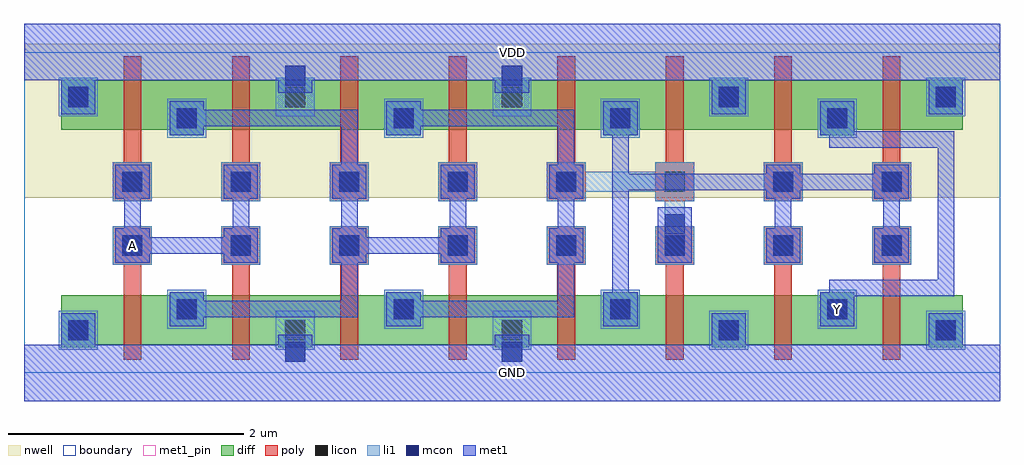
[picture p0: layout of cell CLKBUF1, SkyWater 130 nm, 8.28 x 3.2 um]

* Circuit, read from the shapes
.subckt CLKBUF1 A GND VDD Y
XM1 n1 A GND VSUBS sky130_fd_pr__nfet_01v8 w=0.42 l=0.15 m=2
XM2 n2 n1 GND VSUBS sky130_fd_pr__nfet_01v8 w=0.42 l=0.15 m=2
XM3 n3 n2 GND VSUBS sky130_fd_pr__nfet_01v8 w=0.42 l=0.15 m=2
XM4 Y n3 GND VSUBS sky130_fd_pr__nfet_01v8 w=0.42 l=0.15 m=2
XM5 n1 A VDD n4 sky130_fd_pr__pfet_01v8 w=0.42 l=0.15 m=2
XM6 n2 n1 VDD n4 sky130_fd_pr__pfet_01v8 w=0.42 l=0.15 m=2
XM7 n3 n2 VDD n4 sky130_fd_pr__pfet_01v8 w=0.42 l=0.15 m=2
XM8 Y n3 VDD n4 sky130_fd_pr__pfet_01v8 w=0.42 l=0.15 m=2
.ends

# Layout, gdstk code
import gdstk
lib = gdstk.Library(unit=1e-6, precision=1e-09)
def R(c, l, rs):  # rectangles x0, y0, x1, y1
    for r in rs: c.add(gdstk.rectangle(r[:2], r[2:], *l))
def A(c, l, x, y, w, h, nx, ny, dx, dy):  # array of equal rectangles
    R(c, l, [(x+i*dx, y+j*dy, x+i*dx+w, y+j*dy+h) for i in range(nx) for j in range(ny)])
def P(c, l, *ps):  # polygons
    for p in ps: c.add(gdstk.Polygon(p, *l))
nwell = (64, 20)
diff = (65, 20)
poly = (66, 20)
licon = (66, 44)
li1 = (67, 20)
mcon = (67, 44)
met1_pin = (68, 16)
met1 = (68, 20)
boundary = (235, 4)

clkbuf1 = lib.new_cell('CLKBUF1')
P(clkbuf1, nwell, [(0,1.485),(0,2.72),(0.005,2.72),(0.005,2.79),(8.275,2.79),(8.275,2.72),(8.28,2.72),(8.28,1.485)])
P(clkbuf1, diff, [(0.315,0.215),(0.315,0.66),(1.235,0.66),(1.235,0.685),(1.525,0.685),(1.525,0.66),(3.075,0.66),(3.075,0.685),(3.365,0.685),(3.365,0.66),(4.915,0.66),(4.915,0.685),(5.205,0.685),(5.205,0.66),(6.755,0.66),(6.755,0.685),(7.045,0.685),(7.045,0.66),(7.965,0.66),(7.965,0.215),(7.675,0.215),(7.675,0.24),(6.125,0.24),(6.125,0.215),(5.835,0.215),(5.835,0.24),(4.285,0.24),(4.285,0.215),(3.995,0.215),(3.995,0.24),(2.445,0.24),(2.445,0.215),(2.155,0.215),(2.155,0.24),(0.605,0.24),(0.605,0.215)],
  [(1.235,2.015),(1.235,2.06),(0.315,2.06),(0.315,2.485),(0.605,2.485),(0.605,2.48),(2.155,2.48),(2.155,2.485),(2.445,2.485),(2.445,2.48),(3.995,2.48),(3.995,2.485),(4.285,2.485),(4.285,2.48),(5.835,2.48),(5.835,2.485),(6.125,2.485),(6.125,2.48),(7.675,2.48),(7.675,2.485),(7.965,2.485),(7.965,2.06),(7.045,2.06),(7.045,2.015),(6.755,2.015),(6.755,2.06),(5.205,2.06),(5.205,2.015),(4.915,2.015),(4.915,2.06),(3.365,2.06),(3.365,2.015),(3.075,2.015),(3.075,2.06),(1.525,2.06),(1.525,2.015)])
P(clkbuf1, poly, [(0.845,0.11),(0.845,0.915),(0.755,0.915),(0.755,1.245),(1.085,1.245),(1.085,0.915),(0.995,0.915),(0.995,0.11)],
  [(1.765,0.11),(1.765,0.915),(1.675,0.915),(1.675,1.245),(2.005,1.245),(2.005,0.915),(1.915,0.915),(1.915,0.11)],
  [(2.685,0.11),(2.685,0.915),(2.595,0.915),(2.595,1.245),(2.925,1.245),(2.925,0.915),(2.835,0.915),(2.835,0.11)],
  [(3.605,0.11),(3.605,0.915),(3.515,0.915),(3.515,1.245),(3.845,1.245),(3.845,0.915),(3.755,0.915),(3.755,0.11)],
  [(4.525,0.11),(4.525,0.915),(4.435,0.915),(4.435,1.245),(4.765,1.245),(4.765,0.915),(4.675,0.915),(4.675,0.11)],
  [(5.445,0.11),(5.445,0.915),(5.355,0.915),(5.355,1.245),(5.685,1.245),(5.685,0.915),(5.595,0.915),(5.595,0.11)],
  [(6.365,0.11),(6.365,0.915),(6.275,0.915),(6.275,1.245),(6.605,1.245),(6.605,0.915),(6.515,0.915),(6.515,0.11)],
  [(7.285,0.11),(7.285,0.915),(7.195,0.915),(7.195,1.245),(7.525,1.245),(7.525,0.915),(7.435,0.915),(7.435,0.11)],
  [(0.755,1.455),(0.755,1.785),(0.845,1.785),(0.845,2.685),(0.995,2.685),(0.995,1.785),(1.085,1.785),(1.085,1.455)],
  [(1.675,1.455),(1.675,1.785),(1.765,1.785),(1.765,2.685),(1.915,2.685),(1.915,1.785),(2.005,1.785),(2.005,1.455)],
  [(2.595,1.455),(2.595,1.785),(2.685,1.785),(2.685,2.685),(2.835,2.685),(2.835,1.785),(2.925,1.785),(2.925,1.455)],
  [(3.515,1.455),(3.515,1.785),(3.605,1.785),(3.605,2.685),(3.755,2.685),(3.755,1.785),(3.845,1.785),(3.845,1.455)],
  [(4.435,1.455),(4.435,1.785),(4.525,1.785),(4.525,2.685),(4.675,2.685),(4.675,1.785),(4.765,1.785),(4.765,1.455)],
  [(5.355,1.455),(5.355,1.785),(5.445,1.785),(5.445,2.685),(5.595,2.685),(5.595,1.785),(5.685,1.785),(5.685,1.455)],
  [(6.275,1.455),(6.275,1.785),(6.365,1.785),(6.365,2.685),(6.515,2.685),(6.515,1.785),(6.605,1.785),(6.605,1.455)],
  [(7.195,1.455),(7.195,1.785),(7.285,1.785),(7.285,2.685),(7.435,2.685),(7.435,1.785),(7.525,1.785),(7.525,1.455)])
A(clkbuf1, licon, 0.375, 0.275, 0.17, 0.17, 5, 2, 1.84, 1.98)
A(clkbuf1, licon, 1.295, 0.455, 0.17, 0.17, 4, 2, 1.84, 1.62)
A(clkbuf1, licon, 0.835, 0.995, 0.17, 0.17, 8, 2, 0.92, 0.54)
A(clkbuf1, li1, 1.215, 0.375, 0.33, 0.33, 4, 2, 1.84, 1.62)
A(clkbuf1, li1, 0.755, 0.915, 0.33, 0.33, 5, 1, 0.92, 0)
A(clkbuf1, li1, 0.755, 1.455, 0.33, 0.33, 4, 1, 0.92, 0)
R(clkbuf1, li1, [(0.295,0.195,0.625,0.525), (5.815,0.195,6.145,0.525), (7.655,0.195,7.985,0.525), (6.275,0.915,6.605,1.245), (7.195,0.915,7.525,1.245), (6.275,1.455,6.605,1.785), (7.195,1.455,7.525,1.785), (0.295,2.175,0.625,2.505), (5.815,2.175,6.145,2.505), (7.655,2.175,7.985,2.505)])
P(clkbuf1, li1, [(2.215,0.095),(2.215,0.195),(2.135,0.195),(2.135,0.525),(2.465,0.525),(2.465,0.195),(2.385,0.195),(2.385,0.095)],
  [(4.055,0.095),(4.055,0.195),(3.975,0.195),(3.975,0.525),(4.305,0.525),(4.305,0.195),(4.225,0.195),(4.225,0.095)],
  [(5.355,0.915),(5.355,1.245),(5.435,1.245),(5.435,1.455),(5.355,1.455),(5.355,1.535),(4.765,1.535),(4.765,1.455),(4.435,1.455),(4.435,1.785),(4.765,1.785),(4.765,1.705),(5.355,1.705),(5.355,1.785),(5.685,1.785),(5.685,1.455),(5.605,1.455),(5.605,1.245),(5.685,1.245),(5.685,0.915)],
  [(2.135,2.175),(2.135,2.505),(2.215,2.505),(2.215,2.605),(2.385,2.605),(2.385,2.505),(2.465,2.505),(2.465,2.175)],
  [(3.975,2.175),(3.975,2.505),(4.055,2.505),(4.055,2.605),(4.225,2.605),(4.225,2.505),(4.305,2.505),(4.305,2.175)])
A(clkbuf1, mcon, 1.295, 0.455, 0.17, 0.17, 4, 2, 1.84, 1.62)
A(clkbuf1, mcon, 0.835, 0.995, 0.17, 0.17, 8, 1, 0.92, 0)
A(clkbuf1, mcon, 0.835, 1.535, 0.17, 0.17, 5, 1, 0.92, 0)
R(clkbuf1, mcon, [(2.215,0.095,2.385,0.265), (4.055,0.095,4.225,0.265), (0.375,0.275,0.545,0.445), (5.895,0.275,6.065,0.445), (7.735,0.275,7.905,0.445), (5.435,1.175,5.605,1.345), (6.355,1.535,6.525,1.705), (7.275,1.535,7.445,1.705), (0.375,2.255,0.545,2.425), (5.895,2.255,6.065,2.425), (7.735,2.255,7.905,2.425), (2.215,2.435,2.385,2.605), (4.055,2.435,4.225,2.605)])
R(clkbuf1, met1_pin, [(0,-0.24,8.28,0.24), (0,2.48,8.28,2.96)])
P(clkbuf1, met1_pin, [(6.755,0.395),(6.755,0.685),(6.83,0.685),(6.83,0.79),(7.75,0.79),(7.75,1.91),(6.83,1.91),(6.83,2.015),(6.755,2.015),(6.755,2.305),(7.045,2.305),(7.045,2.05),(7.89,2.05),(7.89,0.65),(7.045,0.65),(7.045,0.395)],
  [(0.775,0.935),(0.775,1.225),(0.85,1.225),(0.85,1.475),(0.775,1.475),(0.775,1.765),(1.065,1.765),(1.065,1.475),(0.99,1.475),(0.99,1.225),(1.065,1.225),(1.065,1.15),(1.695,1.15),(1.695,1.225),(1.77,1.225),(1.77,1.475),(1.695,1.475),(1.695,1.765),(1.985,1.765),(1.985,1.475),(1.91,1.475),(1.91,1.225),(1.985,1.225),(1.985,0.935),(1.695,0.935),(1.695,1.01),(1.065,1.01),(1.065,0.935)])
R(clkbuf1, met1, [(5.375,0.935,5.665,1.405)])
P(clkbuf1, met1, [(0,-0.24),(0,0.24),(0.315,0.24),(0.315,0.505),(0.605,0.505),(0.605,0.24),(2.155,0.24),(2.155,0.325),(2.445,0.325),(2.445,0.24),(3.995,0.24),(3.995,0.325),(4.285,0.325),(4.285,0.24),(5.835,0.24),(5.835,0.505),(6.125,0.505),(6.125,0.24),(7.675,0.24),(7.675,0.505),(7.965,0.505),(7.965,0.24),(8.28,0.24),(8.28,-0.24)],
  [(0.775,0.935),(0.775,1.225),(0.85,1.225),(0.85,1.475),(0.775,1.475),(0.775,1.765),(1.065,1.765),(1.065,1.475),(0.99,1.475),(0.99,1.225),(1.065,1.225),(1.065,1.15),(1.695,1.15),(1.695,1.225),(1.77,1.225),(1.77,1.475),(1.695,1.475),(1.695,1.765),(1.985,1.765),(1.985,1.475),(1.91,1.475),(1.91,1.225),(1.985,1.225),(1.985,0.935),(1.695,0.935),(1.695,1.01),(1.065,1.01),(1.065,0.935)],
  [(1.235,0.395),(1.235,0.685),(1.525,0.685),(1.525,0.61),(2.69,0.61),(2.69,0.935),(2.615,0.935),(2.615,1.225),(2.69,1.225),(2.69,1.475),(2.615,1.475),(2.615,1.765),(2.69,1.765),(2.69,2.09),(1.525,2.09),(1.525,2.015),(1.235,2.015),(1.235,2.305),(1.525,2.305),(1.525,2.23),(2.83,2.23),(2.83,1.765),(2.905,1.765),(2.905,1.475),(2.83,1.475),(2.83,1.225),(2.905,1.225),(2.905,1.15),(3.535,1.15),(3.535,1.225),(3.61,1.225),(3.61,1.475),(3.535,1.475),(3.535,1.765),(3.825,1.765),(3.825,1.475),(3.75,1.475),(3.75,1.225),(3.825,1.225),(3.825,0.935),(3.535,0.935),(3.535,1.01),(2.905,1.01),(2.905,0.935),(2.83,0.935),(2.83,0.47),(1.525,0.47),(1.525,0.395)],
  [(3.075,0.395),(3.075,0.685),(3.365,0.685),(3.365,0.61),(4.53,0.61),(4.53,0.935),(4.455,0.935),(4.455,1.225),(4.53,1.225),(4.53,1.475),(4.455,1.475),(4.455,1.765),(4.53,1.765),(4.53,2.09),(3.365,2.09),(3.365,2.015),(3.075,2.015),(3.075,2.305),(3.365,2.305),(3.365,2.23),(4.67,2.23),(4.67,1.765),(4.745,1.765),(4.745,1.475),(4.67,1.475),(4.67,1.225),(4.745,1.225),(4.745,0.935),(4.67,0.935),(4.67,0.47),(3.365,0.47),(3.365,0.395)],
  [(4.915,0.395),(4.915,0.685),(4.99,0.685),(4.99,2.015),(4.915,2.015),(4.915,2.305),(5.205,2.305),(5.205,2.015),(5.13,2.015),(5.13,1.69),(6.295,1.69),(6.295,1.765),(6.585,1.765),(6.585,1.69),(7.215,1.69),(7.215,1.765),(7.505,1.765),(7.505,1.475),(7.43,1.475),(7.43,1.225),(7.505,1.225),(7.505,0.935),(7.215,0.935),(7.215,1.225),(7.29,1.225),(7.29,1.475),(7.215,1.475),(7.215,1.55),(6.585,1.55),(6.585,1.475),(6.51,1.475),(6.51,1.225),(6.585,1.225),(6.585,0.935),(6.295,0.935),(6.295,1.225),(6.37,1.225),(6.37,1.475),(6.295,1.475),(6.295,1.55),(5.13,1.55),(5.13,0.685),(5.205,0.685),(5.205,0.395)],
  [(6.755,0.395),(6.755,0.685),(6.83,0.685),(6.83,0.79),(7.75,0.79),(7.75,1.91),(6.83,1.91),(6.83,2.015),(6.755,2.015),(6.755,2.305),(7.045,2.305),(7.045,2.05),(7.89,2.05),(7.89,0.65),(7.045,0.65),(7.045,0.395)],
  [(0.315,2.195),(0.315,2.48),(0,2.48),(0,2.96),(8.28,2.96),(8.28,2.48),(7.965,2.48),(7.965,2.195),(7.675,2.195),(7.675,2.48),(6.125,2.48),(6.125,2.195),(5.835,2.195),(5.835,2.48),(4.285,2.48),(4.285,2.375),(3.995,2.375),(3.995,2.48),(2.445,2.48),(2.445,2.375),(2.155,2.375),(2.155,2.48),(0.605,2.48),(0.605,2.195)])
R(clkbuf1, boundary, [(0,0,8.28,2.72)])
clkbuf1.add(gdstk.Label('Y', (6.9,0.54), layer=68, texttype=5))
clkbuf1.add(gdstk.Label('A', (0.92,1.08), layer=68, texttype=5))
clkbuf1.add(gdstk.Label('GND', (4.14,0), layer=68, texttype=5))
clkbuf1.add(gdstk.Label('VDD', (4.14,2.72), layer=68, texttype=5))

lib.write_gds('CLKBUF1.gds')
